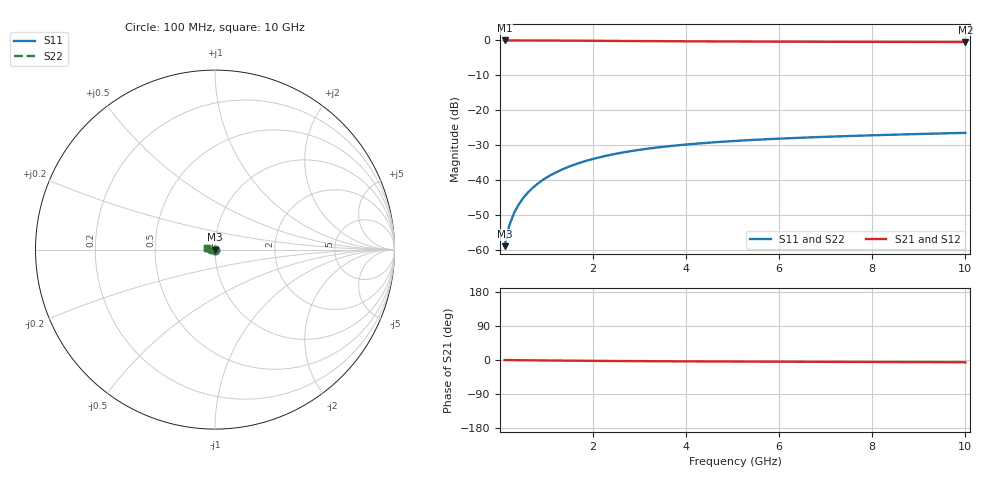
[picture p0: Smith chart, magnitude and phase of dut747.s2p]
! Touchstone file exported from HFSS 2024.1.0
!  File:  C:/UserFiles/LocalFiles/RDL_TSV_Batchsim/temp_TSV1_747_1779870942.aedt
!  Generated:  04:42:27 PM May 27, 2026
!  Design:  TSV1
!  Project:  temp_TSV1_747_1779870942
!  Setup:  Setup1
!  Solution:  Sweep
! Variables:
!  dtsv = 7.99um
!  hbump = 3um
!  htsv = 94.87um
!  lrdl = 252.1521522um
!  p = 40
!  p1 = 45.79um
!  t = 500um
!  trdl = 3um
!  wrdl = 24.89489489um
# GHz S MA R 50.000000
! Terminal data exported
! Port[1] = TSV22_T1
! Port[2] = TSV22_T2
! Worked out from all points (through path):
!   100 points, 100 MHz to 10 GHz, reference 50 ohm
!   highest |S21| = 0.00 dB at 100 MHz (marker M1); lowest = -0.4 dB at 10 GHz (marker M2)
!   lowest |S11| = -58.9 dB at 100 MHz (marker M3), VSWR 1.00, Z = 50 - j0.112 ohm
!   |S11| at or under -10 dB: start of sweep to end of sweep
!   |S22| runs from -58.9 to -26.4 dB; largest |S21 - S12| = 8.4e-15
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0.1  0.001139 -78.9  0.9997 -0.1  0.9997 -0.1  0.001139 -78.9
! Gamma 0 0 0 0
! Port Impedance 50 0 50 0
0.2  0.002244 -86.8  0.9996 -0.3  0.9996 -0.3  0.002244 -86.8
0.3  0.003359 -90.7  0.9994 -0.4  0.9994 -0.4  0.003358 -90.7
0.4  0.004469 -93.5  0.9992 -0.5  0.9992 -0.5  0.004469 -93.5
0.5  0.005572 -95.9  0.9988 -0.6  0.9988 -0.6  0.005572 -95.9
0.6  0.006665 -98.1  0.9985 -0.8  0.9985 -0.8  0.006665 -98.1
0.7  0.007746 -100.1  0.998 -0.9  0.998 -0.9  0.007746 -100.1
0.8  0.008814 -102.1  0.9975 -1.0  0.9975 -1.0  0.008814 -102.1
0.9  0.009868 -104.0  0.997 -1.1  0.997 -1.1  0.009868 -104.0
1.1  0.01192 -107.6  0.9958 -1.4  0.9958 -1.4  0.01192 -107.6
1.4  0.01487 -112.7  0.9937 -1.7  0.9937 -1.7  0.01487 -112.7
1.6  0.01672 -115.9  0.9921 -1.9  0.9921 -1.9  0.01672 -115.9
1.8  0.01849 -119.1  0.9904 -2.1  0.9904 -2.1  0.01849 -119.1
2.1  0.02097 -123.6  0.9878 -2.3  0.9878 -2.3  0.02097 -123.6
2.5  0.02397 -129.2  0.9842 -2.7  0.9842 -2.7  0.02397 -129.2
2.9  0.02662 -134.4  0.9808 -2.9  0.9808 -2.9  0.02662 -134.4
3.4  0.0295 -140.3  0.9766 -3.2  0.9766 -3.2  0.0295 -140.4
4.2  0.03329 -148.8  0.9708 -3.7  0.9708 -3.7  0.03329 -148.8
5.1  0.03664 -157.0  0.9653 -4.1  0.9653 -4.1  0.03664 -157.0
6.7  0.0411 -169.0  0.9582 -4.7  0.9582 -4.7  0.0411 -169.0
8.4  0.04471 -179.4  0.953 -5.4  0.953 -5.4  0.04471 -179.4
10  0.04762 172.5  0.9496 -6.0  0.9496 -6.0  0.04762 172.5
